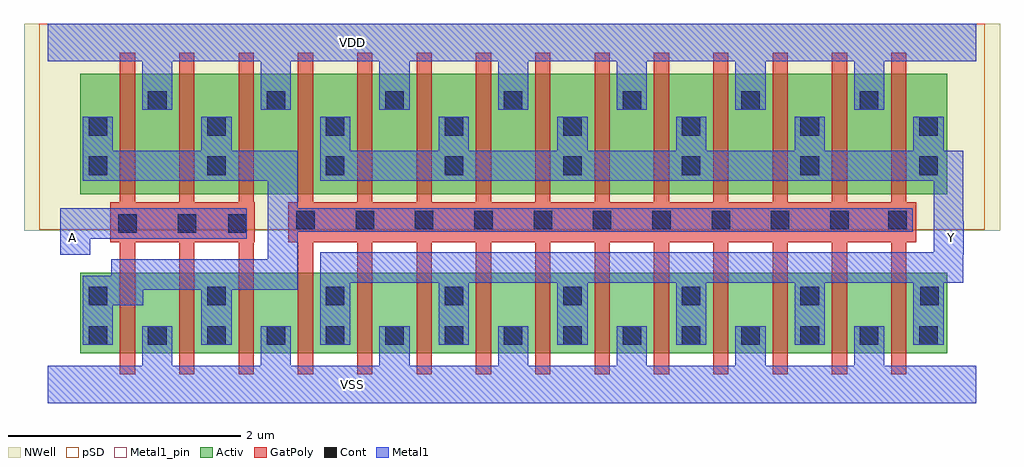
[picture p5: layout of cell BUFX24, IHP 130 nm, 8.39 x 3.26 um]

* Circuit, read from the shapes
.subckt BUFX24 A VDD VSS Y
XM1 VSS A n1 VSUBS sg13_lv_nmos w=0.69u l=0.13u m=3
XM2 Y n1 VSS VSUBS sg13_lv_nmos w=0.69u l=0.13u m=11
XM3 VDD A n1 n2 sg13_lv_pmos w=1.035u l=0.13u m=3
XM4 Y n1 VDD n2 sg13_lv_pmos w=1.035u l=0.13u m=11
.ends

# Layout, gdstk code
import gdstk
lib = gdstk.Library(unit=1e-6, precision=1e-09)
def R(c, l, rs):  # rectangles x0, y0, x1, y1
    for r in rs: c.add(gdstk.rectangle(r[:2], r[2:], *l))
def A(c, l, x, y, w, h, nx, ny, dx, dy):  # array of equal rectangles
    R(c, l, [(x+i*dx, y+j*dy, x+i*dx+w, y+j*dy+h) for i in range(nx) for j in range(ny)])
def P(c, l, *ps):  # polygons
    for p in ps: c.add(gdstk.Polygon(p, *l))
Activ = (1, 0)
GatPoly = (5, 0)
Cont = (6, 0)
Metal1 = (8, 0)
Metal1_pin = (8, 2)
pSD = (14, 0)
NWell = (31, 0)

bufx24 = lib.new_cell('BUFX24')
R(bufx24, Activ, [(0.28,0.27,7.73,0.96), (0.28,1.635,7.73,2.67)])
P(bufx24, GatPoly, [(2.15,0.09),(2.15,1.225),(2.065,1.225),(2.065,1.565),(2.15,1.565),(2.15,2.85),(2.28,2.85),(2.28,1.565),(2.66,1.565),(2.66,2.85),(2.79,2.85),(2.79,1.565),(3.17,1.565),(3.17,2.85),(3.3,2.85),(3.3,1.565),(3.68,1.565),(3.68,2.85),(3.81,2.85),(3.81,1.565),(4.19,1.565),(4.19,2.85),(4.32,2.85),(4.32,1.565),(4.7,1.565),(4.7,2.85),(4.83,2.85),(4.83,1.565),(5.21,1.565),(5.21,2.85),(5.34,2.85),(5.34,1.565),(5.72,1.565),(5.72,2.85),(5.85,2.85),(5.85,1.565),(6.23,1.565),(6.23,2.85),(6.36,2.85),(6.36,1.565),(6.74,1.565),(6.74,2.85),(6.87,2.85),(6.87,1.565),(7.25,1.565),(7.25,2.85),(7.38,2.85),(7.38,1.565),(7.465,1.565),(7.465,1.225),(7.38,1.225),(7.38,0.09),(7.25,0.09),(7.25,1.225),(6.87,1.225),(6.87,0.09),(6.74,0.09),(6.74,1.225),(6.36,1.225),(6.36,0.09),(6.23,0.09),(6.23,1.225),(5.85,1.225),(5.85,0.09),(5.72,0.09),(5.72,1.225),(5.34,1.225),(5.34,0.09),(5.21,0.09),(5.21,1.225),(4.83,1.225),(4.83,0.09),(4.7,0.09),(4.7,1.225),(4.32,1.225),(4.32,0.09),(4.19,0.09),(4.19,1.225),(3.81,1.225),(3.81,0.09),(3.68,0.09),(3.68,1.225),(3.3,1.225),(3.3,0.09),(3.17,0.09),(3.17,1.225),(2.79,1.225),(2.79,0.09),(2.66,0.09),(2.66,1.225),(2.28,1.225),(2.28,0.09)],
  [(0.62,0.09),(0.62,1.225),(0.535,1.225),(0.535,1.565),(0.62,1.565),(0.62,2.85),(0.75,2.85),(0.75,1.565),(1.13,1.565),(1.13,2.85),(1.26,2.85),(1.26,1.565),(1.64,1.565),(1.64,2.85),(1.77,2.85),(1.77,1.565),(1.78,1.565),(1.78,1.225),(1.77,1.225),(1.77,0.09),(1.64,0.09),(1.64,1.225),(1.26,1.225),(1.26,0.09),(1.13,0.09),(1.13,1.225),(0.75,1.225),(0.75,0.09)])
A(bufx24, Cont, 0.35, 0.34, 0.16, 0.16, 15, 1, 0.51, 0)
A(bufx24, Cont, 0.35, 0.68, 0.16, 0.16, 7, 1, 1.02, 0)
A(bufx24, Cont, 2.135, 1.335, 0.16, 0.16, 10, 1, 0.51, 0)
A(bufx24, Cont, 0.35, 1.8, 0.16, 0.16, 8, 2, 1.02, 0.34)
A(bufx24, Cont, 0.86, 2.36, 0.16, 0.16, 7, 1, 1.02, 0)
R(bufx24, Cont, [(7.5,0.68,7.66,0.84), (0.605,1.305,0.765,1.465), (1.115,1.305,1.275,1.465), (1.55,1.305,1.71,1.465), (7.225,1.335,7.385,1.495)])
P(bufx24, Metal1, [(0,-0.16),(0,0.16),(0.81,0.16),(0.81,0.5),(1.07,0.5),(1.07,0.16),(1.83,0.16),(1.83,0.5),(2.09,0.5),(2.09,0.16),(2.85,0.16),(2.85,0.5),(3.11,0.5),(3.11,0.16),(3.87,0.16),(3.87,0.5),(4.13,0.5),(4.13,0.16),(4.89,0.16),(4.89,0.5),(5.15,0.5),(5.15,0.16),(5.91,0.16),(5.91,0.5),(6.17,0.5),(6.17,0.16),(6.93,0.16),(6.93,0.5),(7.19,0.5),(7.19,0.16),(7.98,0.16),(7.98,-0.16)],
  [(0.81,2.36),(0.81,2.78),(0,2.78),(0,3.1),(7.98,3.1),(7.98,2.78),(7.19,2.78),(7.19,2.36),(6.93,2.36),(6.93,2.78),(6.17,2.78),(6.17,2.36),(5.91,2.36),(5.91,2.78),(5.15,2.78),(5.15,2.36),(4.89,2.36),(4.89,2.78),(4.13,2.78),(4.13,2.36),(3.87,2.36),(3.87,2.78),(3.11,2.78),(3.11,2.36),(2.85,2.36),(2.85,2.78),(2.09,2.78),(2.09,2.36),(1.83,2.36),(1.83,2.78),(1.07,2.78),(1.07,2.36)],
  [(2.34,0.34),(2.34,1.135),(7.615,1.135),(7.615,1.75),(2.34,1.75),(2.34,2.3),(2.6,2.3),(2.6,2.01),(3.36,2.01),(3.36,2.3),(3.62,2.3),(3.62,2.01),(4.38,2.01),(4.38,2.3),(4.64,2.3),(4.64,2.01),(5.4,2.01),(5.4,2.3),(5.66,2.3),(5.66,2.01),(6.42,2.01),(6.42,2.3),(6.68,2.3),(6.68,2.01),(7.44,2.01),(7.44,2.3),(7.7,2.3),(7.7,2.01),(7.87,2.01),(7.87,1.405),(7.875,1.405),(7.875,1.115),(7.87,1.115),(7.87,0.875),(7.7,0.875),(7.7,0.34),(7.44,0.34),(7.44,0.875),(6.68,0.875),(6.68,0.34),(6.42,0.34),(6.42,0.875),(5.66,0.875),(5.66,0.34),(5.4,0.34),(5.4,0.875),(4.64,0.875),(4.64,0.34),(4.38,0.34),(4.38,0.875),(3.62,0.875),(3.62,0.34),(3.36,0.34),(3.36,0.875),(2.6,0.875),(2.6,0.34)],
  [(0.3,0.34),(0.3,0.935),(0.545,0.935),(0.545,1.075),(1.89,1.075),(1.89,1.75),(0.3,1.75),(0.3,2.3),(0.56,2.3),(0.56,2.01),(1.32,2.01),(1.32,2.3),(1.58,2.3),(1.58,2.01),(2.15,2.01),(2.15,1.515),(7.435,1.515),(7.435,1.315),(2.15,1.315),(2.15,0.815),(1.58,0.815),(1.58,0.34),(1.32,0.34),(1.32,0.815),(0.82,0.815),(0.82,0.68),(0.56,0.68),(0.56,0.34)],
  [(0.105,1.115),(0.105,1.515),(1.71,1.515),(1.71,1.255),(0.365,1.255),(0.365,1.115)])
P(bufx24, Metal1_pin, [(0,-0.16),(0,0.16),(0.81,0.16),(0.81,0.5),(1.07,0.5),(1.07,0.16),(1.83,0.16),(1.83,0.5),(2.09,0.5),(2.09,0.16),(2.85,0.16),(2.85,0.5),(3.11,0.5),(3.11,0.16),(3.87,0.16),(3.87,0.5),(4.13,0.5),(4.13,0.16),(4.89,0.16),(4.89,0.5),(5.15,0.5),(5.15,0.16),(5.91,0.16),(5.91,0.5),(6.17,0.5),(6.17,0.16),(6.93,0.16),(6.93,0.5),(7.19,0.5),(7.19,0.16),(7.98,0.16),(7.98,-0.16)],
  [(0.81,2.36),(0.81,2.78),(0,2.78),(0,3.1),(7.98,3.1),(7.98,2.78),(7.19,2.78),(7.19,2.36),(6.93,2.36),(6.93,2.78),(6.17,2.78),(6.17,2.36),(5.91,2.36),(5.91,2.78),(5.15,2.78),(5.15,2.36),(4.89,2.36),(4.89,2.78),(4.13,2.78),(4.13,2.36),(3.87,2.36),(3.87,2.78),(3.11,2.78),(3.11,2.36),(2.85,2.36),(2.85,2.78),(2.09,2.78),(2.09,2.36),(1.83,2.36),(1.83,2.78),(1.07,2.78),(1.07,2.36)],
  [(2.34,0.34),(2.34,1.135),(7.615,1.135),(7.615,1.75),(2.34,1.75),(2.34,2.3),(2.6,2.3),(2.6,2.01),(3.36,2.01),(3.36,2.3),(3.62,2.3),(3.62,2.01),(4.38,2.01),(4.38,2.3),(4.64,2.3),(4.64,2.01),(5.4,2.01),(5.4,2.3),(5.66,2.3),(5.66,2.01),(6.42,2.01),(6.42,2.3),(6.68,2.3),(6.68,2.01),(7.44,2.01),(7.44,2.3),(7.7,2.3),(7.7,2.01),(7.87,2.01),(7.87,1.405),(7.875,1.405),(7.875,1.115),(7.87,1.115),(7.87,0.875),(7.7,0.875),(7.7,0.34),(7.44,0.34),(7.44,0.875),(6.68,0.875),(6.68,0.34),(6.42,0.34),(6.42,0.875),(5.66,0.875),(5.66,0.34),(5.4,0.34),(5.4,0.875),(4.64,0.875),(4.64,0.34),(4.38,0.34),(4.38,0.875),(3.62,0.875),(3.62,0.34),(3.36,0.34),(3.36,0.875),(2.6,0.875),(2.6,0.34)],
  [(0.105,1.115),(0.105,1.515),(1.71,1.515),(1.71,1.255),(0.365,1.255),(0.365,1.115)])
R(bufx24, pSD, [(-0.075,1.33,8.055,3.1)])
R(bufx24, NWell, [(-0.205,1.32,8.185,3.1)])
bufx24.add(gdstk.Label('A', (0.21,1.26), layer=8, texttype=25))
bufx24.add(gdstk.Label('Y', (7.77,1.26), layer=8, texttype=25))
bufx24.add(gdstk.Label('VDD', (2.615,2.94), layer=8, texttype=25))
bufx24.add(gdstk.Label('VSS', (2.615,0), layer=8, texttype=25))

lib.write_gds('BUFX24.gds')
